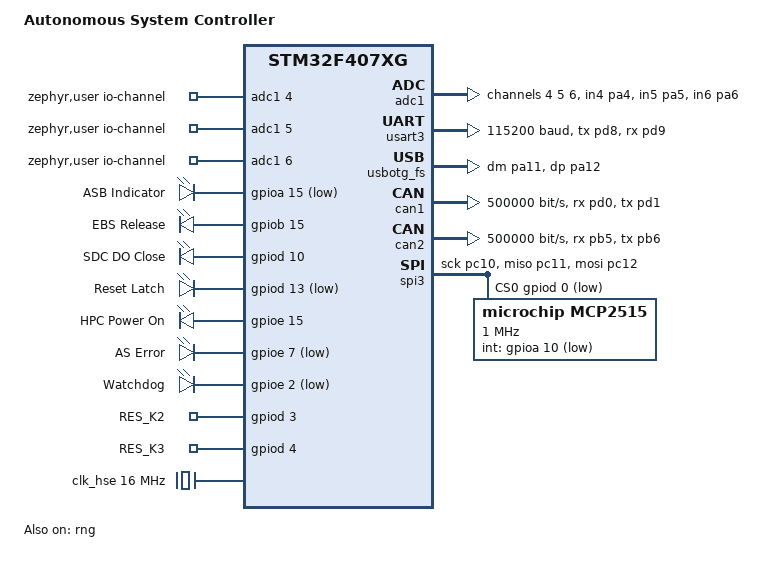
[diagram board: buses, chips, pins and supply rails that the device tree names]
/*
 * Copyright (c) 2017 Linaro Limited
 *
 * SPDX-License-Identifier: Apache-2.0
 */

/dts-v1/;
#include <st/f4/stm32f407Xg.dtsi>
#include <st/f4/stm32f407v(e-g)tx-pinctrl.dtsi>

/ {
	model = "Autonomous System Controller";
	compatible = "st,asc";

	zephyr,user {
        io-channels = <&adc1 4>, <&adc1 5>, <&adc1 6>;
    };

	chosen {
		zephyr,console = &usart3;
		zephyr,shell-uart = &usart3;
		zephyr,sram = &sram0;
		zephyr,flash = &flash0;
		zephyr,ccm = &ccm0;
	};

	leds {
		compatible = "gpio-leds";
		asb_indicator: asb_indicator {
			gpios = <&gpioa 15 GPIO_ACTIVE_LOW>;
			label = "ASB Indicator";
		};
		ebs_release_open: ebs_release_open {
			gpios = <&gpiob 15 GPIO_ACTIVE_HIGH>;
			label = "EBS Release";
		};
		mcu_as_sdc_close: mcu_as_sdc_close {
			gpios = <&gpiod 10 GPIO_ACTIVE_HIGH>;
			label = "SDC DO Close";
		};
		reset_latch: reset_latch {
			gpios = <&gpiod 13 GPIO_ACTIVE_LOW>;
			label = "Reset Latch";
		};
		hpc_pon: hpc_pon {
			gpios = <&gpioe 15 GPIO_ACTIVE_HIGH>;
			label = "HPC Power On";
		};
		mcu_as_error: mcu_as_error {
			gpios = <&gpioe 7 GPIO_ACTIVE_LOW>;
			label = "AS Error";
		};
		wdi: wdi {
			gpios = <&gpioe 2 GPIO_ACTIVE_LOW>;
			label = "Watchdog";
		};
	};

	gpio_keys {
		compatible = "gpio-keys";
		res_k2: res_k2 {
			label = "RES_K2";
			gpios = <&gpiod 3 GPIO_ACTIVE_HIGH>;
		};
		res_k3: res_k3 {
			label = "RES_K3";
			gpios = <&gpiod 4 GPIO_ACTIVE_HIGH>;
		};
	};
	/*
	aliases {
		led0 = &green_led_4;
		led1 = &orange_led_3;
		led2 = &red_led_5;
		led3 = &blue_led_6;
		sw0 = &user_button;
	};
	*/
	aliases {
		fcan = &can1;
		scan = &can2;
        dlcan = &mcp2515;
	};
};


&clk_hse {
	clock-frequency = <DT_FREQ_M(16)>;
	status = "okay";
};

&pll {
	div-m = <8>;
	mul-n = <168>;
	div-p = <2>;
	div-q = <7>;
	clocks = <&clk_hse>;
	status = "okay";
};

&rcc {
	clocks = <&pll>;
	clock-frequency = <DT_FREQ_M(168)>;
	ahb-prescaler = <1>;
	apb1-prescaler = <4>;
	apb2-prescaler = <2>;
};

&rng {
	status = "okay";
};

&adc1 {
	#address-cells = <1>;
	#size-cells = <0>;
	status = "okay";
	pinctrl-0 = <&adc1_in4_pa4 &adc1_in5_pa5 &adc1_in6_pa6>;
	pinctrl-names = "default";

	channel@4 {
		reg = <4>;
		zephyr,gain = "ADC_GAIN_1";
		zephyr,reference = "ADC_REF_INTERNAL";
		zephyr,acquisition-time = <20>; //!TODO: Change!!!!
		zephyr,resolution = <8>;
	};

	channel@5 {
       reg = <5>;
       zephyr,gain = "ADC_GAIN_1";
	   zephyr,reference = "ADC_REF_INTERNAL";
	   zephyr,acquisition-time = <20>; //!TODO: Change!!!!
	   zephyr,resolution = <8>;
   };

   channel@6 {
       reg = <6>;
       zephyr,gain = "ADC_GAIN_1";
	   zephyr,reference = "ADC_REF_INTERNAL";
	   zephyr,acquisition-time = <20>; //!TODO: Change!!!!
	   zephyr,resolution = <8>;
   };
};


&usart1 {
	pinctrl-0 = <&usart1_tx_pa9 &usart1_rx_pb7>;
	pinctrl-names = "default";
	current-speed = <115200>;
	status = "disabled";
};

&usart2 {
	pinctrl-0 = <&usart2_tx_pa2 &usart2_rx_pa3>;
	pinctrl-names = "default";
	current-speed = <115200>;
	status = "disabled";
};

&usart3 {
	pinctrl-0 = <&usart3_tx_pd8 &usart3_rx_pd9>;
	pinctrl-names = "default";
	current-speed = <115200>;
	status = "okay";
};

zephyr_udc0: &usbotg_fs {
	pinctrl-0 = <&usb_otg_fs_dm_pa11 &usb_otg_fs_dp_pa12>;
	pinctrl-names = "default";
	status = "okay";
};

&can1 {
	pinctrl-0 = <&can1_rx_pd0 &can1_tx_pd1>;
	pinctrl-names = "default";
	bus-speed = <500000>;
	status = "okay";
};

&can2 {
	pinctrl-0 = <&can2_rx_pb5 &can2_tx_pb6>;
	pinctrl-names = "default";
	bus-speed = <500000>;
	status = "okay";
};

&spi3 {
    pinctrl-0 = <&spi3_sck_pc10
		     &spi3_miso_pc11 &spi3_mosi_pc12>;
	pinctrl-names = "default";
	status = "okay";
	cs-gpios = <&gpiod 0 GPIO_ACTIVE_LOW>;

    mcp2515: can3@0 {
		compatible = "microchip,mcp2515";
		spi-max-frequency = <1000000>;
		int-gpios = <&gpioa 10 GPIO_ACTIVE_LOW>; /* D2 */
		status = "okay";
        label = "MCP2515";
		reg = <0x0>;
		osc-freq = <16000000>;
		bus-speed = <125000>;
		sjw = <1>;
		sample-point = <875>;

		can-transceiver {
			max-bitrate = <1000000>;
		};
	};
};

&mac {
	status = "disabled";
	pinctrl-0 = <&eth_crs_pa0
		     &eth_ref_clk_pa1
			 &eth_mdio_pa2
			 &eth_col_pa3
			 &eth_crs_dv_pa7
			 &eth_rxd2_pb0
			 &eth_rxd3_pb1
			 &eth_pps_out_pb5
			 &eth_txd3_pb8
			 &eth_rx_er_pb10
			 &eth_tx_en_pb11
		     &eth_txd0_pb12
		     &eth_txd1_pb13
			 &eth_mdc_pc1
			 &eth_txd2_pc2
			 &eth_tx_clk_pc3
		     &eth_rxd0_pc4
		     &eth_rxd1_pc5>;
	pinctrl-names = "default";
};
